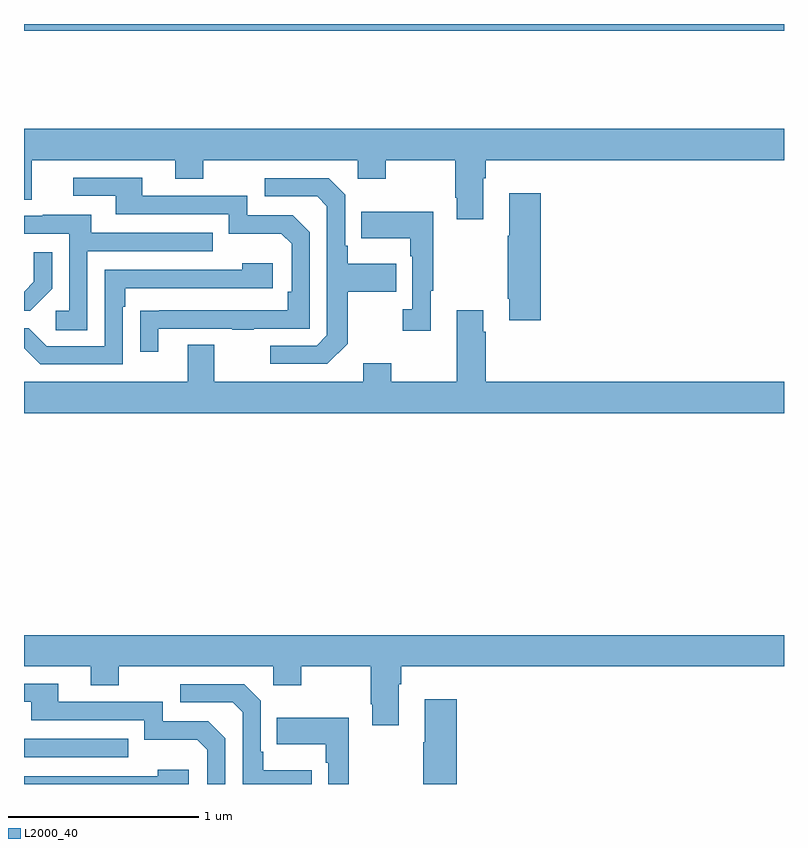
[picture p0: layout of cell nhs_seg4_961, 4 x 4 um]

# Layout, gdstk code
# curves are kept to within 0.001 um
import gdstk
lib = gdstk.Library(unit=1e-6, precision=1e-09)
def R(c, l, rs):  # rectangles x0, y0, x1, y1
    for r in rs: c.add(gdstk.rectangle(r[:2], r[2:], *l))
def P(c, l, *ps):  # polygons
    for p in ps: c.add(gdstk.Polygon(p, *l))
L2000_40 = (2000, 40)

nhs_seg4_961 = lib.new_cell('nhs_seg4_961')
R(nhs_seg4_961, L2000_40, [(161,763.041,161.549,763.137), (161,766.864,165,766.9)])
P(nhs_seg4_961, L2000_40, [(163.417,766.088),(163.43,766.088),(163.43,766.184),(165,766.184),(165,766.348),(161,766.348),(161,765.976),(161.041,765.976),(161.041,766.184),(161.795,766.184),(161.795,766.085),(161.943,766.085),(161.943,766.184),(162.756,766.184),(162.756,766.085),(162.903,766.085),(162.903,766.184),(163.27,766.184),(163.27,765.985),(163.277,765.985),(163.277,765.873),(163.417,765.873)],
  [(161.707,765.297),(162.097,765.297),(162.097,765.292),(162.209,765.292),(162.209,765.297),(162.504,765.297),(162.504,765.804),(162.414,765.894),(162.174,765.894),(162.174,765.996),(161.623,765.996),(161.623,766.092),(161.259,766.092),(161.259,765.996),(161.483,765.996),(161.483,765.9),(162.078,765.9),(162.078,765.797),(162.355,765.797),(162.408,765.744),(162.408,765.49),(162.388,765.49),(162.388,765.393),(161.611,765.392),(161.611,765.174),(161.707,765.174)],
  [(162.703,765.217),(162.703,765.49),(162.959,765.49),(162.959,765.637),(162.703,765.637),(162.703,765.733),(162.69,765.733),(162.69,766.002),(162.603,766.089),(162.267,766.089),(162.267,765.993),(162.543,765.993),(162.594,765.942),(162.594,765.261),(162.54,765.207),(162.297,765.207),(162.297,765.111),(162.597,765.111)],
  [(163.721,766.009),(163.553,766.009),(163.553,765.785),(163.546,765.785),(163.546,765.454),(163.553,765.454),(163.553,765.342),(163.721,765.342)],
  [(163.141,765.497),(163.153,765.497),(163.153,765.913),(162.775,765.913),(162.775,765.773),(163.032,765.773),(163.032,765.677),(163.044,765.677),(163.044,765.398),(162.993,765.398),(162.993,765.285),(163.141,765.285)],
  [(161.334,765.705),(161.993,765.705),(161.993,765.801),(161.353,765.801),(161.353,765.895),(161.099,765.895),(161.099,765.891),(161,765.891),(161,765.795),(161.238,765.795),(161.238,765.39),(161.166,765.39),(161.166,765.289),(161.334,765.289)],
  [(161.148,765.506),(161.148,765.7),(161.051,765.7),(161.051,765.543),(161,765.492),(161,765.39),(161.032,765.39)],
  [(161.52,765.413),(161.533,765.413),(161.533,765.51),(162.31,765.51),(162.31,765.64),(162.149,765.64),(162.149,765.606),(161.424,765.606),(161.424,765.204),(161.121,765.204),(161.025,765.3),(161,765.3),(161,765.193),(161.085,765.108),(161.52,765.108)],
  [(165,765.016),(163.43,765.016),(163.43,765.281),(163.417,765.281),(163.417,765.394),(163.277,765.394),(163.277,765.016),(162.933,765.016),(162.933,765.115),(162.785,765.115),(162.785,765.016),(162.001,765.016),(162.001,765.211),(161.861,765.211),(161.861,765.016),(161,765.016),(161,764.852),(165,764.852)],
  [(162.973,763.424),(162.986,763.424),(162.986,763.52),(165,763.52),(165,763.684),(161,763.684),(161,763.52),(161.351,763.52),(161.351,763.421),(161.499,763.421),(161.499,763.52),(162.312,763.52),(162.312,763.421),(162.459,763.421),(162.459,763.52),(162.826,763.52),(162.826,763.321),(162.833,763.321),(162.833,763.209),(162.973,763.209)],
  [(162.06,763.14),(161.97,763.23),(161.73,763.23),(161.73,763.332),(161.179,763.332),(161.179,763.428),(161,763.428),(161,763.332),(161.039,763.332),(161.039,763.236),(161.634,763.236),(161.634,763.133),(161.911,763.133),(161.964,763.08),(161.964,762.9),(162.06,762.9)],
  [(162.515,762.973),(162.259,762.973),(162.259,763.069),(162.246,763.069),(162.246,763.338),(162.159,763.425),(161.823,763.425),(161.823,763.329),(162.099,763.329),(162.15,763.278),(162.15,762.9),(162.515,762.9)],
  [(163.277,763.345),(163.109,763.345),(163.109,763.121),(163.102,763.121),(163.102,762.9),(163.277,762.9)],
  [(162.709,763.249),(162.331,763.249),(162.331,763.109),(162.588,763.109),(162.588,763.013),(162.6,763.013),(162.6,762.9),(162.709,762.9)],
  [(161.866,762.976),(161.705,762.976),(161.705,762.942),(161,762.942),(161,762.9),(161.866,762.9)])

lib.write_gds('nhs_seg4_961.gds')
